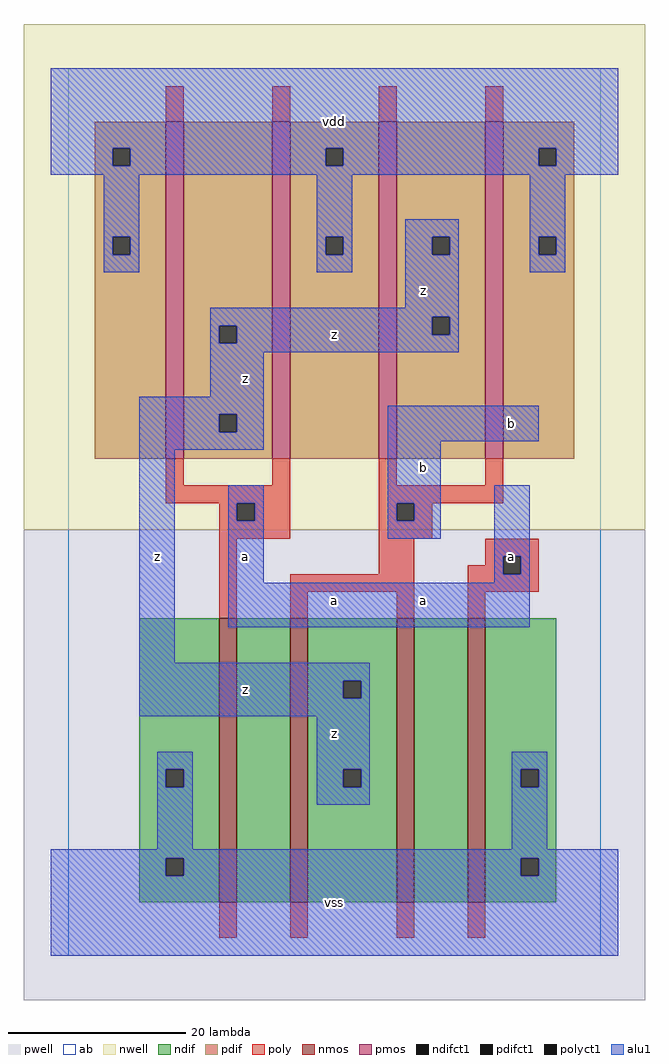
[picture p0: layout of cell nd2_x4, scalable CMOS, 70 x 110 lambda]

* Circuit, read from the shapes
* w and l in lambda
.subckt nd2_x4 a b vdd vss z
M1 n1 a vss VSUBS nfet w=32 l=2
M2 z b n1 VSUBS nfet w=32 l=2
M3 n2 b z VSUBS nfet w=32 l=2
M4 vss a n2 VSUBS nfet w=32 l=2
M5 z a vdd n3 pfet w=38 l=2 m=2
M6 z b vdd n3 pfet w=38 l=2 m=2
.ends

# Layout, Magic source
magic
tech scmos
<< ab >>
rect 0 0 60 100
<< nwell >>
rect -5 48 65 105
<< pwell >>
rect -5 -5 65 48
<< poly >>
rect 11 94 13 98
rect 23 94 25 98
rect 35 94 37 98
rect 47 94 49 98
rect 11 53 13 56
rect 23 53 25 56
rect 11 51 25 53
rect 17 49 19 51
rect 21 49 25 51
rect 17 47 25 49
rect 35 53 37 56
rect 47 53 49 56
rect 35 51 49 53
rect 35 49 37 51
rect 39 49 41 51
rect 35 47 41 49
rect 17 38 19 47
rect 35 43 39 47
rect 47 45 53 47
rect 47 44 49 45
rect 25 41 39 43
rect 25 38 27 41
rect 37 38 39 41
rect 45 43 49 44
rect 51 43 53 45
rect 45 41 53 43
rect 45 38 47 41
rect 17 2 19 6
rect 25 2 27 6
rect 37 2 39 6
rect 45 2 47 6
<< ndif >>
rect 8 21 17 38
rect 8 19 11 21
rect 13 19 17 21
rect 8 11 17 19
rect 8 9 11 11
rect 13 9 17 11
rect 8 6 17 9
rect 19 6 25 38
rect 27 31 37 38
rect 27 29 31 31
rect 33 29 37 31
rect 27 21 37 29
rect 27 19 31 21
rect 33 19 37 21
rect 27 6 37 19
rect 39 6 45 38
rect 47 21 55 38
rect 47 19 51 21
rect 53 19 55 21
rect 47 11 55 19
rect 47 9 51 11
rect 53 9 55 11
rect 47 6 55 9
<< pdif >>
rect 3 91 11 94
rect 3 89 5 91
rect 7 89 11 91
rect 3 81 11 89
rect 3 79 5 81
rect 7 79 11 81
rect 3 56 11 79
rect 13 71 23 94
rect 13 69 17 71
rect 19 69 23 71
rect 13 61 23 69
rect 13 59 17 61
rect 19 59 23 61
rect 13 56 23 59
rect 25 91 35 94
rect 25 89 29 91
rect 31 89 35 91
rect 25 81 35 89
rect 25 79 29 81
rect 31 79 35 81
rect 25 56 35 79
rect 37 81 47 94
rect 37 79 41 81
rect 43 79 47 81
rect 37 72 47 79
rect 37 70 41 72
rect 43 70 47 72
rect 37 56 47 70
rect 49 91 57 94
rect 49 89 53 91
rect 55 89 57 91
rect 49 81 57 89
rect 49 79 53 81
rect 55 79 57 81
rect 49 56 57 79
<< alu1 >>
rect -2 91 62 100
rect -2 89 5 91
rect 7 89 29 91
rect 31 89 53 91
rect 55 89 62 91
rect -2 88 62 89
rect 4 81 8 88
rect 4 79 5 81
rect 7 79 8 81
rect 4 77 8 79
rect 28 81 32 88
rect 28 79 29 81
rect 31 79 32 81
rect 28 77 32 79
rect 38 81 44 83
rect 38 79 41 81
rect 43 79 44 81
rect 38 73 44 79
rect 52 81 56 88
rect 52 79 53 81
rect 55 79 56 81
rect 52 77 56 79
rect 16 72 44 73
rect 16 71 41 72
rect 16 69 17 71
rect 19 70 41 71
rect 43 70 44 72
rect 19 69 44 70
rect 16 68 44 69
rect 16 63 22 68
rect 8 61 22 63
rect 8 59 17 61
rect 19 59 22 61
rect 8 57 22 59
rect 36 58 53 62
rect 8 33 12 57
rect 18 51 22 53
rect 18 49 19 51
rect 21 49 22 51
rect 18 42 22 49
rect 36 51 42 58
rect 36 49 37 51
rect 39 49 42 51
rect 36 47 42 49
rect 48 45 52 53
rect 48 43 49 45
rect 51 43 52 45
rect 48 42 52 43
rect 18 37 52 42
rect 8 31 34 33
rect 8 29 31 31
rect 33 29 34 31
rect 8 27 34 29
rect 10 21 14 23
rect 10 19 11 21
rect 13 19 14 21
rect 10 12 14 19
rect 28 21 34 27
rect 28 19 31 21
rect 33 19 34 21
rect 28 17 34 19
rect 50 21 54 23
rect 50 19 51 21
rect 53 19 54 21
rect 50 12 54 19
rect -2 11 62 12
rect -2 9 11 11
rect 13 9 51 11
rect 53 9 62 11
rect -2 0 62 9
<< nmos >>
rect 17 6 19 38
rect 25 6 27 38
rect 37 6 39 38
rect 45 6 47 38
<< pmos >>
rect 11 56 13 94
rect 23 56 25 94
rect 35 56 37 94
rect 47 56 49 94
<< polyct1 >>
rect 19 49 21 51
rect 37 49 39 51
rect 49 43 51 45
<< ndifct1 >>
rect 11 19 13 21
rect 11 9 13 11
rect 31 29 33 31
rect 31 19 33 21
rect 51 19 53 21
rect 51 9 53 11
<< pdifct1 >>
rect 5 89 7 91
rect 5 79 7 81
rect 17 69 19 71
rect 17 59 19 61
rect 29 89 31 91
rect 29 79 31 81
rect 41 79 43 81
rect 41 70 43 72
rect 53 89 55 91
rect 53 79 55 81
<< labels >>
rlabel alu1 10 45 10 45 6 z
rlabel alu1 20 45 20 45 6 a
rlabel alu1 20 30 20 30 6 z
rlabel alu1 20 65 20 65 6 z
rlabel alu1 30 6 30 6 6 vss
rlabel alu1 30 25 30 25 6 z
rlabel alu1 30 40 30 40 6 a
rlabel alu1 40 40 40 40 6 a
rlabel alu1 30 70 30 70 6 z
rlabel alu1 40 55 40 55 6 b
rlabel alu1 40 75 40 75 6 z
rlabel alu1 30 94 30 94 6 vdd
rlabel alu1 50 45 50 45 6 a
rlabel alu1 50 60 50 60 6 b
<< end >>
